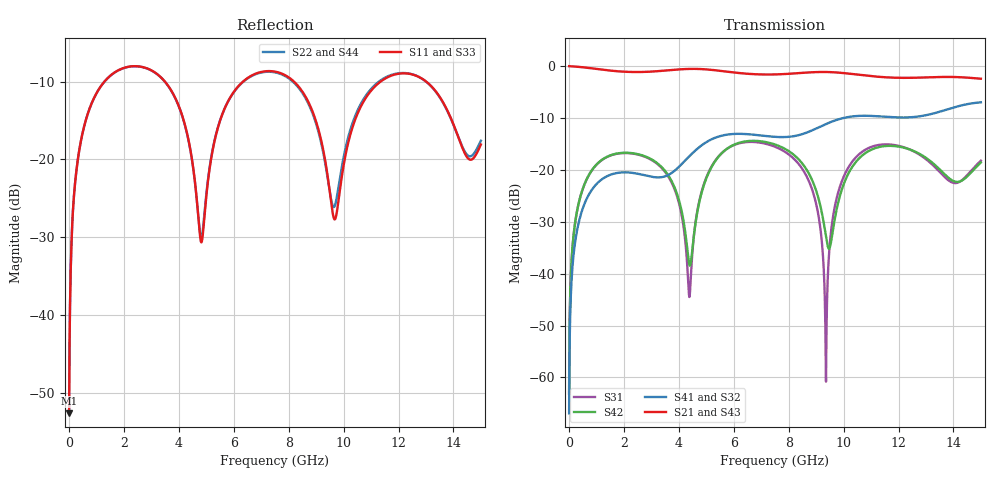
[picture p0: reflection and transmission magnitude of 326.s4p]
! Created with skrf 1.8.0 (http://scikit-rf.org).
# GHz S RI R 50.0
!freq ReS11 ImS11 ReS12 ImS12 ReS13 ImS13
! ReS14 ImS14
! ReS21 ImS21 ReS22 ImS22 ReS23 ImS23
! ReS24 ImS24
! ReS31 ImS31 ReS32 ImS32 ReS33 ImS33
! ReS34 ImS34
! ReS41 ImS41 ReS42 ImS42 ReS43 ImS43
! ReS44 ImS44
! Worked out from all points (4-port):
!   2499 points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, 5 MHz to 15 GHz, reference 50 ohm
!   strongest paths, dB at 5 MHz, 3.476 GHz, 7.19 GHz, 11.1 GHz, 15 GHz:
!     S21: 0.0, -0.9, -1.6, -2.0, -2.4
!     S43: 0.0, -0.9, -1.6, -2.0, -2.4
!     S41: -66.9, -21.3, -13.5, -9.6, -7.0
!     S32: -66.9, -21.3, -13.5, -9.6, -7.0
!     S42: -63.1, -20.1, -14.7, -15.9, -18.6
!     S31: -63.1, -20.2, -15.0, -15.4, -18.2
!   lowest |S11| = -52.6 dB at 5 MHz (marker M1), VSWR 1.00, Z = 50.2 + j0.143 ohm
!   |S11| at or under -10 dB: 3.495 GHz to 6.336 GHz (2.841 GHz wide, 57.8 % of centre); 8.194 GHz to 11.34 GHz (3.15 GHz wide, 32.2 % of centre); 13.01 GHz to end of sweep (the widest 3 of 4)
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0.005  0.00186 0.00142  0.9981 -0.00362  9.26e-05 0.000692  -9.02e-05 -0.000442
       0.9981 -0.00362  0.00186 0.00142  -9.02e-05 -0.000442  9.26e-05 0.000692
       9.26e-05 0.000692  -9.02e-05 -0.000442  0.00186 0.00142  0.9981 -0.00362
       -9.02e-05 -0.000442  9.26e-05 0.000692  0.9981 -0.00362  0.00186 0.00142
1.77574  0.3504 0.126  0.3452 -0.8216  0.1406 0.0277  -0.09 0.0253
         0.3452 -0.8216  0.3497 0.1269  -0.09 0.0252  0.1421 0.0241
         0.1406 0.0277  -0.09 0.0252  0.3503 0.1259  0.3452 -0.8217
         -0.09 0.0253  0.1421 0.0241  0.3452 -0.8217  0.3496 0.1269
4.945811  0.034 0.0305  -0.9311 0.0274  0.0189 0.0749  0.0136 0.1804
          -0.9311 0.0274  0.0359 0.0313  0.0126 0.1805  0.0156 0.074
          0.0189 0.0749  0.0126 0.1805  0.0338 0.0317  -0.931 0.0278
          0.0136 0.1804  0.0156 0.074  -0.931 0.0278  0.0363 0.0323
8.259692  0.265 -0.1569  0.3958 0.754  0.0718 -0.0993  0.1638 -0.1361
          0.3958 0.754  0.2642 -0.1483  0.1649 -0.1343  0.063 -0.1187
          0.0718 -0.0993  0.1649 -0.1343  0.2666 -0.157  0.395 0.754
          0.1638 -0.1361  0.063 -0.1187  0.395 0.754  0.265 -0.1488
9.36015  0.0559 -0.0726  0.8227 0.3041  -0.000803 0.000432  0.0866 -0.2625
         0.8227 0.3041  0.0622 -0.063  0.0893 -0.2616  -0.0202 -0.0101
         -0.000803 0.000432  0.0893 -0.2616  0.0568 -0.0724  0.8224 0.3047
         0.0866 -0.2625  -0.0202 -0.0101  0.8224 0.3047  0.0618 -0.0632
10.51063  0.1363 0.143  0.7558 -0.3361  0.1254 0.0557  -0.1661 -0.286
          0.7558 -0.3361  0.1474 0.145  -0.1629 -0.2874  0.1105 0.0577
          0.1254 0.0557  -0.1629 -0.2874  0.1385 0.1447  0.7555 -0.3355
          -0.1661 -0.286  0.1105 0.0577  0.7555 -0.3355  0.1472 0.1469
15  0.1145 0.0496  -0.7526 0.0662  0.0538 0.1099  0.0622 0.443
    -0.7526 0.0662  0.1211 0.0525  0.0554 0.4435  0.0497 0.1069
    0.0538 0.1099  0.0554 0.4435  0.1151 0.0414  -0.7538 0.0598
    0.0622 0.443  0.0497 0.1069  -0.7538 0.0598  0.1187 0.0428
